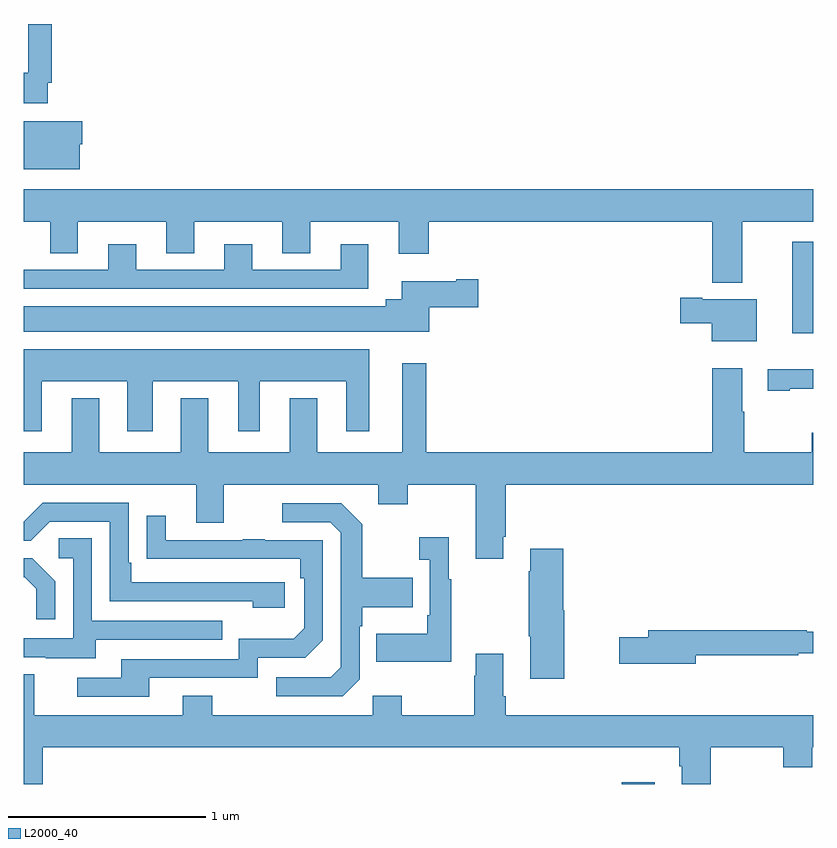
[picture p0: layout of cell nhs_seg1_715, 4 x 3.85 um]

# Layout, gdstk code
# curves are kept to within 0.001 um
import gdstk
lib = gdstk.Library(unit=1e-6, precision=1e-09)
def R(c, l, rs):  # rectangles x0, y0, x1, y1
    for r in rs: c.add(gdstk.rectangle(r[:2], r[2:], *l))
def P(c, l, *ps):  # polygons
    for p in ps: c.add(gdstk.Polygon(p, *l))
L2000_40 = (2000, 40)

nhs_seg1_715 = lib.new_cell('nhs_seg1_715')
R(nhs_seg1_715, L2000_40, [(152.03,566.199,152.197,566.209), (152.894,568.482,153,568.945)])
P(nhs_seg1_715, L2000_40, [(149.121,569.752),(149.141,569.752),(149.141,570.049),(149.024,570.049),(149.024,569.801),(149,569.801),(149,569.648),(149.121,569.648)],
  [(149.284,569.439),(149.296,569.439),(149.296,569.557),(149,569.557),(149,569.312),(149.284,569.312)],
  [(152.641,569.048),(153,569.048),(153,569.212),(149,569.212),(149,569.048),(149.135,569.048),(149.135,568.888),(149.275,568.888),(149.275,569.048),(149.723,569.048),(149.723,568.888),(149.863,568.888),(149.863,569.048),(150.311,569.048),(150.311,568.888),(150.451,568.888),(150.451,569.048),(150.899,569.048),(150.899,568.884),(151.052,568.884),(151.052,569.048),(152.489,569.048),(152.489,568.739),(152.641,568.739)],
  [(150.745,568.933),(150.605,568.933),(150.605,568.803),(150.157,568.803),(150.157,568.933),(150.017,568.933),(150.017,568.803),(149.569,568.803),(149.569,568.933),(149.429,568.933),(149.429,568.803),(149,568.803),(149,568.707),(150.745,568.707)],
  [(151.054,568.613),(151.303,568.613),(151.303,568.755),(151.19,568.755),(151.19,568.747),(150.914,568.747),(150.914,568.654),(150.833,568.654),(150.833,568.618),(149,568.618),(149,568.49),(151.054,568.49)],
  [(152.713,568.654),(152.437,568.654),(152.437,568.662),(152.325,568.662),(152.325,568.532),(152.486,568.532),(152.486,568.442),(152.713,568.442)],
  [(149.092,568.238),(149.525,568.238),(149.525,567.987),(149.653,567.987),(149.653,568.238),(150.086,568.238),(150.086,567.987),(150.196,567.987),(150.196,568.238),(150.635,568.238),(150.635,567.987),(150.751,567.987),(150.751,568.402),(149,568.402),(149,567.987),(149.092,567.987)],
  [(151.429,567.451),(151.442,567.451),(151.442,567.716),(153,567.716),(153,567.979),(152.992,567.979),(152.992,567.88),(152.649,567.88),(152.649,568.085),(152.641,568.085),(152.641,568.306),(152.489,568.306),(152.489,567.88),(151.039,567.88),(151.039,568.33),(150.917,568.33),(150.917,567.88),(150.487,567.88),(150.487,568.153),(150.347,568.153),(150.347,567.88),(149.935,567.88),(149.935,568.153),(149.795,568.153),(149.795,567.88),(149.383,567.88),(149.383,568.153),(149.243,568.153),(149.243,567.88),(149,567.88),(149,567.716),(149.873,567.716),(149.873,567.522),(150.013,567.522),(150.013,567.716),(150.797,567.716),(150.797,567.617),(150.945,567.617),(150.945,567.716),(151.289,567.716),(151.289,567.339),(151.429,567.339)],
  [(152.881,568.201),(153,568.201),(153,568.301),(152.769,568.301),(152.769,568.191),(152.881,568.191)],
  [(150.322,567.222),(149.545,567.222),(149.545,567.319),(149.532,567.319),(149.532,567.624),(149.097,567.624),(149,567.528),(149,567.432),(149.037,567.432),(149.133,567.528),(149.436,567.528),(149.436,567.126),(150.161,567.126),(150.161,567.092),(150.322,567.092)],
  [(150.702,566.73),(150.702,566.999),(150.715,566.999),(150.715,567.095),(150.971,567.095),(150.971,567.243),(150.715,567.243),(150.715,567.515),(150.609,567.621),(150.309,567.621),(150.309,567.525),(150.552,567.525),(150.606,567.471),(150.606,566.79),(150.555,566.739),(150.279,566.739),(150.279,566.643),(150.615,566.643)],
  [(149.635,566.736),(150.186,566.736),(150.186,566.838),(150.426,566.838),(150.516,566.928),(150.516,567.435),(150.221,567.435),(150.221,567.44),(150.109,567.44),(150.109,567.435),(149.719,567.435),(149.719,567.559),(149.623,567.559),(149.623,567.34),(150.4,567.339),(150.4,567.242),(150.42,567.242),(150.42,566.988),(150.367,566.935),(150.09,566.935),(150.09,566.832),(149.495,566.832),(149.495,566.736),(149.271,566.736),(149.271,566.64),(149.635,566.64)],
  [(151.165,567.235),(151.153,567.235),(151.153,567.448),(151.005,567.448),(151.005,567.335),(151.056,567.335),(151.056,567.055),(151.044,567.055),(151.044,566.959),(150.787,566.959),(150.787,566.819),(151.165,566.819)],
  [(149.365,566.931),(150.005,566.931),(150.005,567.027),(149.346,567.027),(149.346,567.443),(149.178,567.443),(149.178,567.342),(149.25,567.342),(149.25,566.937),(149,566.937),(149,566.841),(149.111,566.841),(149.111,566.837),(149.365,566.837)],
  [(151.738,567.078),(151.733,567.078),(151.733,567.391),(151.565,567.391),(151.565,567.278),(151.558,567.278),(151.558,566.947),(151.565,566.947),(151.565,566.732),(151.738,566.732)],
  [(149.16,567.226),(149.044,567.342),(149,567.342),(149,567.246),(149.006,567.246),(149.063,567.189),(149.063,567.033),(149.16,567.033)],
  [(152.404,566.85),(152.924,566.85),(152.924,566.862),(153,566.862),(153,566.971),(152.968,566.971),(152.968,566.978),(152.165,566.978),(152.165,566.942),(152.016,566.942),(152.016,566.807),(152.404,566.807)],
  [(152.321,566.288),(152.333,566.288),(152.333,566.199),(152.481,566.199),(152.481,566.384),(152.848,566.384),(152.848,566.285),(152.994,566.285),(152.994,566.384),(153,566.384),(153,566.548),(151.442,566.548),(151.442,566.644),(151.429,566.644),(151.429,566.86),(151.289,566.86),(151.289,566.747),(151.282,566.747),(151.282,566.548),(150.915,566.548),(150.915,566.647),(150.768,566.647),(150.768,566.548),(149.955,566.548),(149.955,566.647),(149.807,566.647),(149.807,566.548),(149.053,566.548),(149.053,566.756),(149,566.756),(149,566.199),(149.096,566.199),(149.096,566.384),(152.321,566.384)])

lib.write_gds('nhs_seg1_715.gds')
